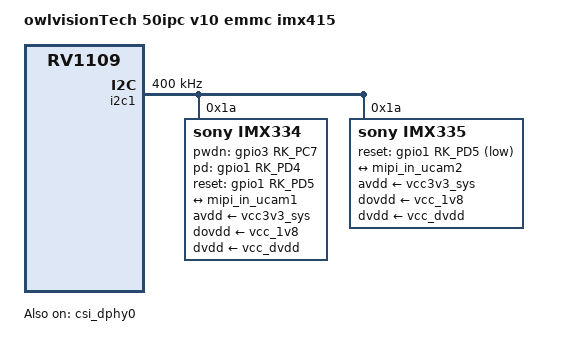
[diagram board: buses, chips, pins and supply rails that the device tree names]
// SPDX-License-Identifier: (GPL-2.0+ OR MIT)
/*
 * Copyright (c) 2020 Rockchip Electronics Co., Ltd.
 */

/dts-v1/;

#include "rv1126-owl-50ipc-v10-emmc.dtsi"

/ {
	model = "owlvisionTech 50ipc v10 emmc imx415";
	compatible = "rockchip,rv1109-38-v10-spi-nand", "rockchip,rv1109";

	chosen {
		bootargs = "earlycon=uart8250,mmio32,0xff570000 console=ttyFIQ0 root=PARTUUID=614e0000-0000 rootfstype=ext4 rootwait snd_aloop.index=7";
	};
};

&csi_dphy0 {
	status = "okay";

	ports {
		#address-cells = <1>;
		#size-cells = <0>;
		port@0 {
			reg = <0>;
			#address-cells = <1>;
			#size-cells = <0>;

			mipi_in_ucam0: endpoint@1 {
				reg = <1>;
				remote-endpoint = <&ucam_out0>;
				data-lanes = <1 2 3 4>;
			};

            mipi_in_ucam1: endpoint@2 {
                reg = <2>;
                remote-endpoint = <&ucam_out01>;
                data-lanes = <1 2 3 4>;
            };

            mipi_in_ucam2: endpoint@3 {
                reg = <3>;
                remote-endpoint = <&ucam_out02>;
                data-lanes = <1 2 3 4>;
            };
		};

		port@1 {
			reg = <1>;
			#address-cells = <1>;
			#size-cells = <0>;

			csidphy0_out: endpoint@0 {
				reg = <0>;
				remote-endpoint = <&mipi_csi2_input>;
			};
		};
	};
};

&i2c1 {
	status = "okay";
	clock-frequency = <400000>;

    imx334: imx334@1a {
        compatible = "sony,imx334";
        reg = <0x1a>;
        clocks = <&cru CLK_MIPICSI_OUT>;
        clock-names = "xvclk";
        power-domains = <&power RV1126_PD_VI>;
        pinctrl-names = "rockchip,camera_default";
        pinctrl-0 = <&mipicsi_clk0>;
        avdd-supply = <&vcc3v3_sys>;
        dovdd-supply = <&vcc_1v8>;
        dvdd-supply = <&vcc_dvdd>;
        pwdn-gpios = <&gpio3 RK_PC7 GPIO_ACTIVE_HIGH>;
        pd-gpios = <&gpio1 RK_PD4 GPIO_ACTIVE_HIGH>;
        reset-gpios = <&gpio1 RK_PD5 GPIO_ACTIVE_HIGH>;
        rockchip,camera-module-index = <1>;
        rockchip,camera-module-facing = "front";
        rockchip,camera-module-name = "CMK-OT1522-FG3";
        rockchip,camera-module-lens-name = "CS-P1150-IRC-8M-FAU";
        port {
            ucam_out01: endpoint {
               remote-endpoint = <&mipi_in_ucam1>;
               data-lanes = <1 2 3 4>;
           };
        };
    };

	imx335: imx335@1a {
		compatible = "sony,imx335";
		reg = <0x1a>;
		clocks = <&cru CLK_MIPICSI_OUT>;
		clock-names = "xvclk";
		power-domains = <&power RV1126_PD_VI>;
		pinctrl-names = "rockchip,camera_default";
        pinctrl-0 = <&mipicsi_clk0>;
        avdd-supply = <&vcc3v3_sys>;
        dovdd-supply = <&vcc_1v8>;
        dvdd-supply = <&vcc_dvdd>;
        reset-gpios = <&gpio1 RK_PD5 GPIO_ACTIVE_LOW>;
		rockchip,camera-module-index = <1>;
		rockchip,camera-module-facing = "front";
		rockchip,camera-module-name = "MTV4-IR-E-P";
		rockchip,camera-module-lens-name = "40IRC-4MP-F16";
        ir-cut = <&cam_ircut0>;
        port {
            ucam_out02: endpoint {
                remote-endpoint = <&mipi_in_ucam2>;
                data-lanes = <1 2 3 4>;
            };
        };
    };
};

